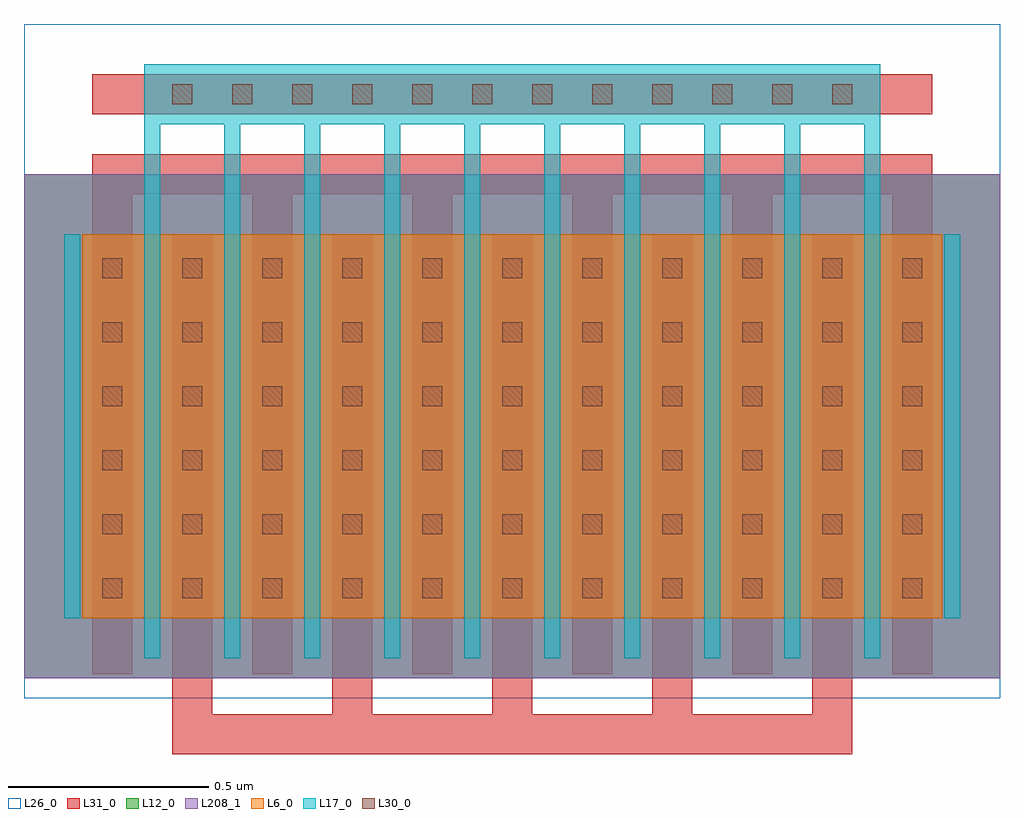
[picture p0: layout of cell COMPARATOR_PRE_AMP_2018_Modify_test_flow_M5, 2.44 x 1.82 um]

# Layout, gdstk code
import gdstk
lib = gdstk.Library(unit=1e-6, precision=1e-09)
def R(c, l, rs):  # rectangles x0, y0, x1, y1
    for r in rs: c.add(gdstk.rectangle(r[:2], r[2:], *l))
def A(c, l, x, y, w, h, nx, ny, dx, dy):  # array of equal rectangles
    R(c, l, [(x+i*dx, y+j*dy, x+i*dx+w, y+j*dy+h) for i in range(nx) for j in range(ny)])
L6_0 = (6, 0)
L12_0 = (12, 0)
L17_0 = (17, 0)
L26_0 = (26, 0)
L30_0 = (30, 0)
L31_0 = (31, 0)
L208_1 = (208, 1)

comparator_pre_amp_2018_ = lib.new_cell('COMPARATOR_PRE_AMP_2018_Modify_test_flow_M5')
R(comparator_pre_amp_2018_, L6_0, [(-0.075,0.09,2.075,1.05)])
R(comparator_pre_amp_2018_, L12_0, [(-0.22,-0.06,2.22,1.2)])
A(comparator_pre_amp_2018_, L17_0, 0.08, -0.01, 0.04, 1.16, 10, 1, 0.2, 0)
A(comparator_pre_amp_2018_, L17_0, 0.08, 1.05, 0.04, 0.3, 10, 1, 0.2, 0)
R(comparator_pre_amp_2018_, L17_0, [(-0.12,0.09,-0.08,1.05), (2.08,0.09,2.12,1.05), (0.08,1.325,1.92,1.475)])
R(comparator_pre_amp_2018_, L26_0, [(-0.22,-0.11,2.22,1.575)])
A(comparator_pre_amp_2018_, L30_0, -0.025, 0.14, 0.05, 0.05, 11, 6, 0.2, 0.16)
A(comparator_pre_amp_2018_, L30_0, 0.15, 1.375, 0.05, 0.05, 12, 1, 0.15, 0)
A(comparator_pre_amp_2018_, L31_0, 0.15, -0.15, 0.1, 0.1, 5, 1, 0.4, 0)
A(comparator_pre_amp_2018_, L31_0, -0.05, -0.05, 0.1, 1.1, 11, 1, 0.2, 0)
A(comparator_pre_amp_2018_, L31_0, -0.05, 0.09, 0.1, 0.96, 11, 1, 0.2, 0)
A(comparator_pre_amp_2018_, L31_0, -0.05, 1.05, 0.1, 0.1, 6, 1, 0.4, 0)
R(comparator_pre_amp_2018_, L31_0, [(0.15,-0.25,1.85,-0.15), (-0.05,1.15,2.05,1.25), (-0.05,1.35,2.05,1.45), (0.08,1.35,1.92,1.45)])
R(comparator_pre_amp_2018_, L208_1, [(-0.22,-0.06,2.22,1.2)])

lib.write_gds('COMPARATOR_PRE_AMP_2018_Modify_test_flow_M5.gds')
